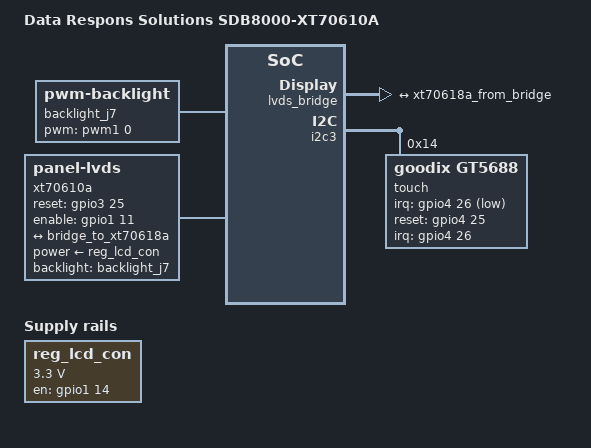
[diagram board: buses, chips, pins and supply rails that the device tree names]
// SPDX-License-Identifier: (GPL-2.0+ OR MIT)
/*
 * Copyright 2021 Data Respons Solutions AB
 */

/dts-v1/;

#include "sdb8000.dts"

/ {
	model = "Data Respons Solutions SDB8000-XT70610A";

	reg_lcd_con: regulator-lcd-con {
		compatible = "regulator-fixed";
		pinctrl-names = "default";
		pinctrl-0 = <&pinctrl_reg_lcd_con>;
		regulator-name = "LCD_CON-VDD";
		regulator-min-microvolt = <3300000>;
		regulator-max-microvolt = <3300000>;
		gpio = <&gpio1 14 GPIO_ACTIVE_HIGH>;
		off-on-delay-us = <20000>;
		enable-active-high;
	};

	backlight_j7: backlight-j7 {
		compatible = "pwm-backlight";
		pwms = <&pwm1 0 1000000 0>;
        brightness-levels = <	0 1 2 3 4 5 6 7 8 9 10 15 20 25
        						30 40 50 60 70 80 90 100 120 150
        					>;
		default-brightness-level = <23>;
		status = "okay";
	};

	panel_lvds: xt70610a {
		compatible = "panel-lvds";
		label = "xt70610a";
		data-mapping = "jeida-24";
		width-mm = <154>;
		height-mm = <86>;
		reset-gpios = <&gpio3 25 GPIO_ACTIVE_HIGH>;
		enable-gpios = <&gpio1 11 GPIO_ACTIVE_HIGH>;
		power-supply = <&reg_lcd_con>;
		backlight = <&backlight_j7>;

		panel-timing {
			clock-frequency = <51200000>; // 40,8 ~ 67,2
			hactive = <1024>;
			vactive = <600>;
			hback-porch = <30>;
			hfront-porch = <30>;
			vback-porch = <10>;
			vfront-porch = <10>;
			hsync-len = <260>;
			vsync-len = <15>;
		};

		port {
			xt70618a_from_bridge: endpoint {
				remote-endpoint = <&bridge_to_xt70618a>;
			};
		};
	};
};

&lvds_bridge {
	ports {
		port@2 {
			reg = <2>;
			bridge_to_xt70618a: endpoint {
				remote-endpoint = <&xt70618a_from_bridge>;
			};
		};
	};
};

&i2c3 {
	touch: gt5688@14 {
    	compatible = "goodix,gt5688";
    	reg = <0x14>;
    	interrupt-parent = <&gpio4>;
    	interrupts = <26 IRQ_TYPE_NONE>;
    	irq-gpios = <&gpio4 26 GPIO_ACTIVE_LOW>;
    	reset-gpios = <&gpio4 25 GPIO_ACTIVE_HIGH>;
	};
};

&iomuxc {
	pinctrl-names = "default";
	pinctrl-0 = <&pinctrl_hog_1>;

	pinctrl_hog_1: hog1grp {
		fsl,pins = <
			// Used by panel
			MX8MM_IOMUXC_SAI5_MCLK_GPIO3_IO25	0x0 /* LCD_CON-RESET */
			MX8MM_IOMUXC_GPIO1_IO11_GPIO1_IO11	0x0 /* LCD_CON-STBY */
			MX8MM_IOMUXC_SAI2_TXD0_GPIO4_IO26	0x80 /* INT_TP */
			MX8MM_IOMUXC_SAI2_TXC_GPIO4_IO25	0x0 /* RST_TP */
		>;
	};

	pinctrl_reg_lcd_con: reglcdcongrp {
		fsl,pins = <
			MX8MM_IOMUXC_GPIO1_IO14_GPIO1_IO14	0x0 /* LCD_PWR_EN */
		>;
	};
};
